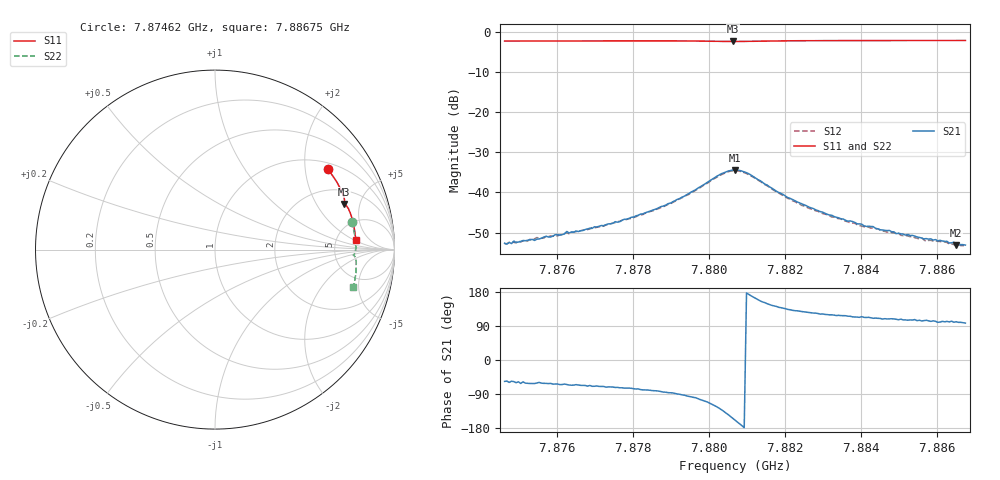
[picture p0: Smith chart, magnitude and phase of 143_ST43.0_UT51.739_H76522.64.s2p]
#  HZ  S  DB  R  50.00
! Rohde & Schwarz Vector Network Analyzer
! Rohde-Schwarz,ZNB20-2Port,1311601062101988,3.16
! Created: UTC 1/12/2023, 6:39:55 PM
! freq[Hz]  db:S11  ang:S11  db:S21  ang:S21  db:S12  ang:S12  db:S22  ang:S22
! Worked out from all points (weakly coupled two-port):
!   201 points, 7.87462 GHz to 7.88675 GHz, reference 50 ohm
!   highest |S21| = -34.41 dB at 7.88068 GHz (marker M1); lowest = -53.2 dB at 7.88651 GHz (marker M2)
!   lowest |S11| = -2.3 dB at 7.88062 GHz (marker M3), VSWR 7.45, Z = 146 + j177 ohm
!   |S11| at or under -10 dB: nowhere
!   |S22| runs from -2.3 to -2.0 dB; largest |S21 - S12| = 0.0013
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7.874619e9  -2.24 35.5  -52.65 -56.4  -52.81 -60.9  -2.20 11.5
7.875407e9  -2.23 33.3  -51.96 -62.1  -51.55 -62.7  -2.17 9.6
7.875711e9  -2.23 32.4  -50.91 -61.7  -50.92 -66.5  -2.16 8.8
7.876135e9  -2.22 31.3  -50.52 -64.8  -50.55 -67.8  -2.15 7.8
7.876257e9  -2.21 31.0  -49.72 -64.7  -50.05 -68.3  -2.16 7.5
7.876681e9  -2.21 29.8  -49.47 -67.1  -49.41 -70.2  -2.14 6.5
7.877652e9  -2.20 27.2  -47.27 -73.4  -47.20 -76.7  -2.12 4.3
7.878683e9  -2.19 24.3  -43.78 -82.2  -43.98 -86.0  -2.10 1.8
7.87935e9  -2.21 22.4  -40.93 -92.8  -41.03 -96.6  -2.11 0.2
7.88032e9  -2.31 19.8  -35.34 -130.7  -35.59 -134.5  -2.21 -2.0
7.880624e9  -2.35 19.5  -34.42 -153.9  -34.62 -157.1  -2.25 -2.3
7.880684e9  -2.35 19.4  -34.41 -158.7  -34.58 -162.0  -2.25 -2.2
7.881048e9  -2.30 19.0  -35.34 173.0  -35.59 169.5  -2.21 -2.4
7.882079e9  -2.17 16.3  -41.30 133.3  -41.49 130.5  -2.06 -4.7
7.882747e9  -2.15 14.5  -44.01 123.9  -44.33 120.3  -2.03 -6.3
7.883656e9  -2.12 12.0  -47.16 115.6  -47.30 112.2  -2.00 -8.3
7.884748e9  -2.11 9.1  -49.46 108.6  -49.77 104.4  -1.98 -10.8
7.885597e9  -2.10 6.9  -51.36 103.0  -51.32 101.1  -1.97 -12.6
7.885719e9  -2.10 6.6  -51.49 104.9  -52.19 99.1  -1.97 -12.9
7.886446e9  -2.09 4.7  -52.38 99.7  -53.00 96.2  -1.96 -14.5
7.886507e9  -2.09 4.5  -53.18 101.0  -53.13 95.1  -1.96 -14.6
7.88675e9  -2.09 3.9  -53.12 97.4  -53.38 97.0  -1.96 -15.1
